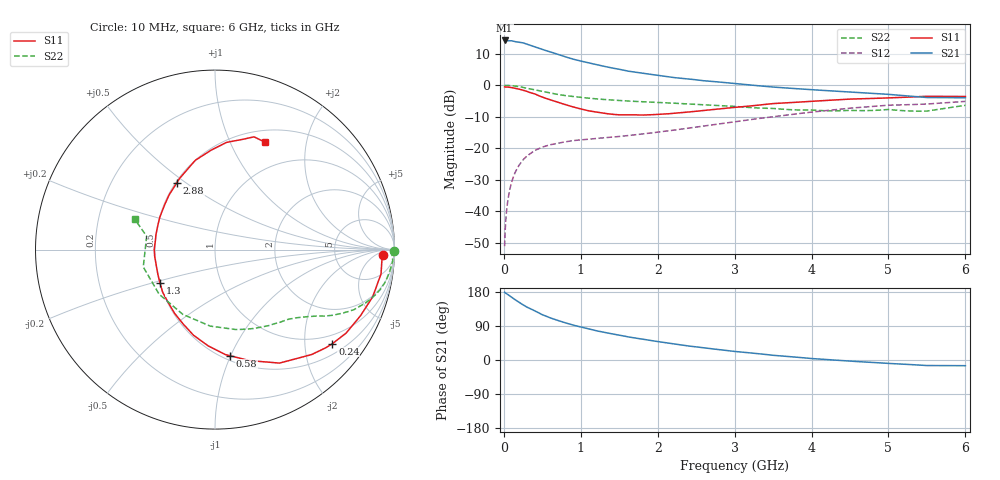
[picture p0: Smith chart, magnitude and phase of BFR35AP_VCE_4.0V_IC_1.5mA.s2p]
! Infineon Technologies  Discrete & RF Semiconductors
! BFR35AP
! VCE =  4.0 V,  IC =  1.5 mA
! Common Emitter S-Parameters:  Nov 2015
# GHz  S  MA  R  50
!  f  S11  S21  S12  S22
! GHz  MAG  ANG  MAG  ANG  MAG  ANG  MAG  ANG
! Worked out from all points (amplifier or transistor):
!   210 points, 10 MHz to 6 GHz, reference 50 ohm
!   highest |S21| = 14.2 dB at 10 MHz (marker M1)
!   |S21| within 3 dB of that: start of sweep to 519.8 MHz
!   unconditionally stable (mu >= 1): 1.297 GHz to 3.86 GHz; 5.218 GHz to end of sweep
!   at 185 MHz: K = 0.19, MSG = 19.8 dB, |S12| = -26.0 dB
!   at 1.52 GHz: K = 1.10, MAG = 8.6 dB, |S12| = -16.2 dB
!   at 6 GHz: K = 1.00, MAG = 0.5 dB, |S12| = -5.2 dB
!   S11 on the Smith chart (normalised r, x): 10 MHz: 25, -12; 240 MHz: 0.75, -2.66; 580 MHz: 0.54, -1.00; 1.3 GHz: 0.50, -0.21; 2.88 GHz: 0.51, +0.46; 6 GHz: 0.64, +1.36
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0.01  0.9381 -1.8  5.106 178.8  0.0028 88.1  0.9995 -0.6
0.02  0.9319 -3.5  5.067 177.0  0.0058 88.2  0.9862 -1.4
0.03  0.9322 -5.1  5.057 175.7  0.0086 86.2  0.9881 -2.1
0.07  0.9253 -11.7  5.044 170.2  0.02 82.1  0.9874 -5.0
0.1  0.9167 -16.8  5.064 166.1  0.0287 80.4  0.9811 -7.1
0.15  0.8902 -24.5  4.883 158.6  0.042 74.9  0.9664 -10.7
0.24  0.8382 -38.7  4.697 146.8  0.0632 67.2  0.926 -16.0
0.3  0.7951 -47.3  4.464 139.6  0.075 63.2  0.8923 -19.3
0.4  0.7272 -60.4  4.044 129.7  0.0916 56.7  0.8432 -23.4
0.5  0.6472 -72.8  3.679 119.5  0.1042 51.8  0.7929 -26.6
0.58  0.5978 -81.8  3.435 113.1  0.1114 48.8  0.757 -28.7
0.7  0.538 -94.0  3.082 104.4  0.12 45.6  0.7131 -31.3
0.8  0.4919 -104.1  2.806 98.0  0.1263 43.1  0.6819 -32.9
1.02  0.414 -124.2  2.378 86.0  0.1363 40.7  0.6358 -36.0
1.3  0.3582 -149.0  1.991 73.2  0.1466 40.4  0.5922 -39.8
1.6  0.3384 -173.0  1.678 61.6  0.158 41.6  0.5604 -44.1
2.02  0.3443 158.7  1.419 48.1  0.1812 44.1  0.5295 -51.2
2.88  0.4289 119.6  1.096 25.5  0.2512 45.4  0.4679 -71.8
3.1  0.4547 113.1  1.033 20.8  0.2733 44.4  0.4499 -78.9
4.1  0.5632 90.4  0.832 2.6  0.3846 35.5  0.396 -121.3
5.1  0.634 75.8  0.698 -10.0  0.4836 20.6  0.4008 -171.0
6  0.6599 65.1  0.631 -15.0  0.5523 8.9  0.4784 159.2
